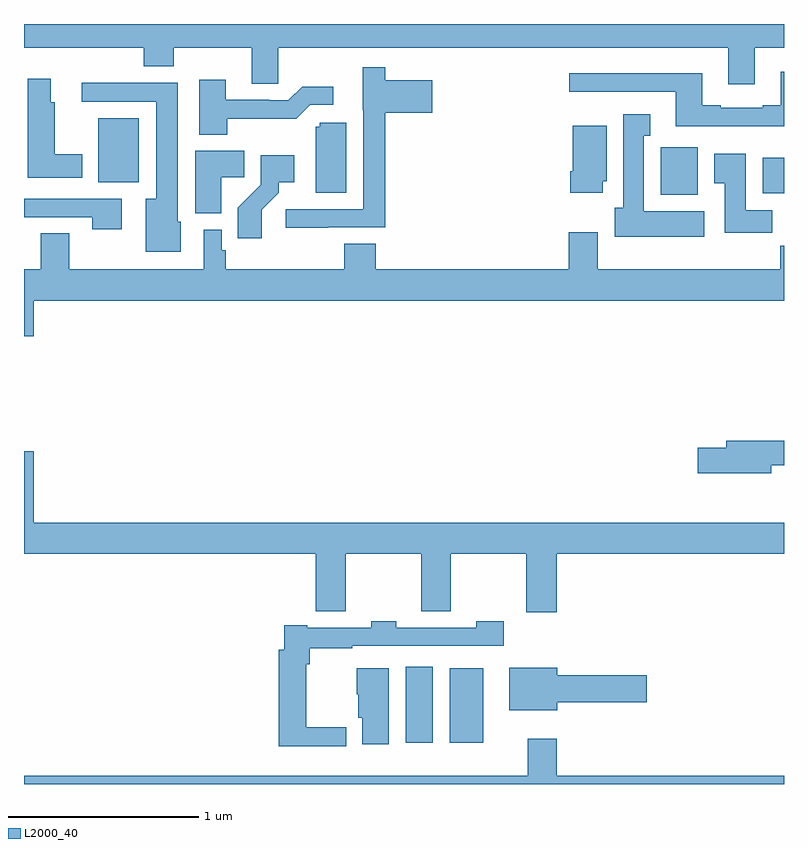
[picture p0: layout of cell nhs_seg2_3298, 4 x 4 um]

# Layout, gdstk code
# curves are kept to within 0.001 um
import gdstk
lib = gdstk.Library(unit=1e-6, precision=1e-09)
def R(c, l, rs):  # rectangles x0, y0, x1, y1
    for r in rs: c.add(gdstk.rectangle(r[:2], r[2:], *l))
def P(c, l, *ps):  # polygons
    for p in ps: c.add(gdstk.Polygon(p, *l))
L2000_40 = (2000, 40)

nhs_seg2_3298 = lib.new_cell('nhs_seg2_3298')
R(nhs_seg2_3298, L2000_40, [(287.009,604.016,287.152,604.417), (287.24,604.016,287.416,604.408), (288.351,606.902,288.547,607.152), (288.887,606.908,289,607.096), (285.392,606.968,285.604,607.303)])
P(nhs_seg2_3298, L2000_40, [(288.847,607.676),(289,607.676),(289,607.8),(285,607.8),(285,607.676),(285.629,607.676),(285.629,607.577),(285.789,607.577),(285.789,607.676),(286.199,607.676),(286.199,607.486),(286.338,607.486),(286.338,607.676),(288.707,607.676),(288.707,607.482),(288.847,607.482)],
  [(286.601,606.729),(286.901,606.729),(286.901,607.334),(287.149,607.334),(287.149,607.504),(286.901,607.504),(286.901,607.573),(286.784,607.573),(286.784,607.35),(286.785,607.35),(286.785,606.825),(286.377,606.825),(286.377,606.727),(286.601,606.727)],
  [(289,607.549),(288.983,607.549),(288.983,607.372),(288.887,607.372),(288.887,607.359),(288.667,607.359),(288.667,607.372),(288.571,607.372),(288.571,607.54),(287.871,607.54),(287.871,607.443),(288.431,607.443),(288.431,607.262),(289,607.262)],
  [(285.307,607.114),(285.163,607.114),(285.163,607.389),(285.142,607.389),(285.142,607.513),(285.02,607.513),(285.02,606.992),(285.307,606.992)],
  [(286.071,607.302),(286.433,607.301),(286.506,607.374),(286.627,607.374),(286.627,607.471),(286.465,607.471),(286.392,607.398),(286.292,607.398),(286.292,607.401),(286.063,607.401),(286.063,607.507),(285.923,607.507),(285.923,607.217),(286.071,607.217)],
  [(285.825,606.759),(285.808,606.759),(285.808,607.49),(285.303,607.49),(285.303,607.392),(285.695,607.392),(285.695,606.88),(285.641,606.88),(285.641,606.602),(285.825,606.602)],
  [(288.58,606.814),(288.262,606.814),(288.262,607.211),(288.295,607.211),(288.295,607.324),(288.155,607.324),(288.155,606.834),(288.11,606.834),(288.11,606.68),(288.58,606.68)],
  [(286.696,607.281),(286.557,607.281),(286.557,607.26),(286.535,607.26),(286.535,606.912),(286.696,606.912)],
  [(288.046,606.972),(288.067,606.972),(288.067,607.264),(287.888,607.264),(287.888,607.024),(287.876,607.024),(287.876,606.912),(288.046,606.912)],
  [(286.039,606.994),(286.16,606.994),(286.16,607.132),(285.902,607.132),(285.902,606.803),(286.039,606.803)],
  [(288.938,606.82),(288.799,606.82),(288.799,607.117),(288.632,607.117),(288.632,606.961),(288.689,606.961),(288.689,606.702),(288.938,606.702)],
  [(286.252,606.823),(286.342,606.913),(286.342,606.968),(286.423,606.968),(286.423,607.108),(286.245,607.108),(286.245,606.953),(286.126,606.834),(286.126,606.672),(286.252,606.672)],
  [(285.514,606.879),(285,606.879),(285,606.783),(285.358,606.783),(285.358,606.72),(285.514,606.72)],
  [(285.052,606.344),(289,606.344),(289,606.632),(288.979,606.632),(288.979,606.508),(288.019,606.508),(288.019,606.703),(287.867,606.703),(287.867,606.508),(286.85,606.508),(286.85,606.644),(286.685,606.644),(286.685,606.508),(286.061,606.508),(286.061,606.609),(286.041,606.609),(286.041,606.718),(285.945,606.718),(285.945,606.508),(285.237,606.508),(285.237,606.698),(285.089,606.698),(285.089,606.508),(285,606.508),(285,606.156),(285.052,606.156)],
  [(288.934,605.478),(289,605.478),(289,605.606),(288.695,605.606),(288.695,605.57),(288.546,605.57),(288.546,605.435),(288.934,605.435)],
  [(287.804,605.012),(289,605.012),(289,605.176),(285.052,605.176),(285.052,605.551),(285,605.551),(285,605.012),(286.535,605.012),(286.535,604.708),(286.694,604.708),(286.694,605.012),(287.092,605.012),(287.092,604.708),(287.246,604.708),(287.246,605.012),(287.644,605.012),(287.644,604.704),(287.804,604.704)],
  [(286.696,604.1),(286.486,604.1),(286.486,604.43),(286.505,604.43),(286.505,604.515),(286.727,604.515),(286.727,604.527),(287.524,604.527),(287.524,604.656),(287.379,604.656),(287.379,604.623),(286.959,604.623),(286.959,604.656),(286.827,604.656),(286.827,604.623),(286.492,604.623),(286.492,604.636),(286.369,604.636),(286.369,604.507),(286.34,604.507),(286.34,603.998),(286.696,603.998)],
  [(287.806,604.231),(288.277,604.231),(288.277,604.373),(287.806,604.373),(287.806,604.411),(287.555,604.411),(287.555,604.187),(287.806,604.187)],
  [(286.921,604.408),(286.751,604.408),(286.751,604.272),(286.76,604.272),(286.76,604.149),(286.781,604.149),(286.781,604.008),(286.921,604.008)],
  [(289,603.844),(287.804,603.844),(287.804,604.039),(287.651,604.039),(287.651,603.844),(285,603.844),(285,603.8),(289,603.8)])

lib.write_gds('nhs_seg2_3298.gds')
